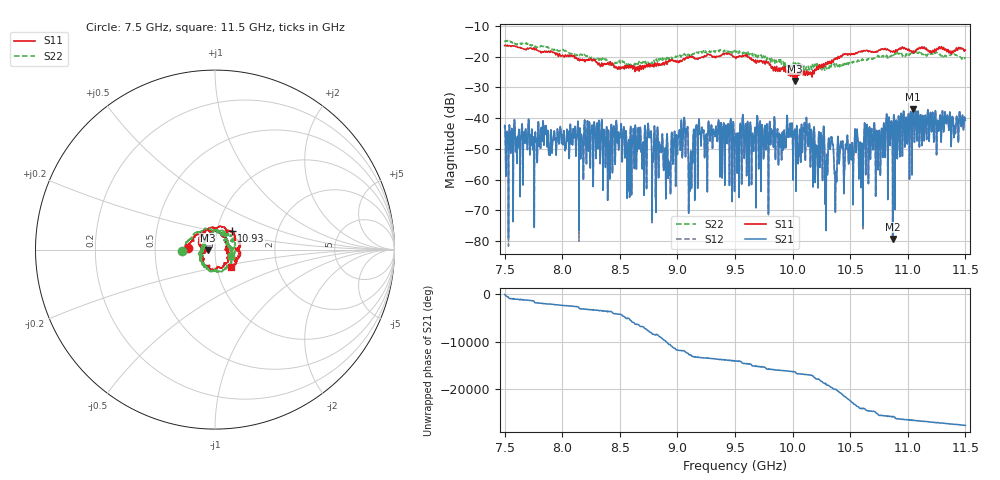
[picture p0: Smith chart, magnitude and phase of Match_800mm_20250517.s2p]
#  HZ  S  DB  R  50.00
! Rohde & Schwarz ZVA40 2Ports - Version 4.11 - 1145.1110k40 SN: 100216
! Date: 2025-05-17 20:26:16
! Measurements: S11 S21 S12 S22
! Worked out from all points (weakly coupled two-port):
!   5001 points, 7.5 GHz to 11.5 GHz, reference 50 ohm
!   highest |S21| = -37.01 dB at 11.05 GHz (marker M1); lowest = -79.3 dB at 10.87 GHz (marker M2)
!   lowest |S11| = -27.9 dB at 10.02 GHz (marker M3), VSWR 1.08, Z = 46.1 - j0.193 ohm
!   |S11| at or under -10 dB: start of sweep to end of sweep
!   |S22| runs from -25.2 to -14.8 dB; largest |S21 - S12| = 0.00012
!   S11 on the Smith chart (normalised r, x): 7.5 GHz: 0.74, +0.02; 10.93 GHz: 1.17, +0.25; 11.5 GHz: 1.16, -0.23
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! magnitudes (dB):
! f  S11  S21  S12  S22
! 7.5 GHz  -16.5  -42.9  -42.9  -14.8
! 8.167 GHz  -21.2  -45.5  -45.5  -19.3
! 8.834 GHz  -22.9  -49.5  -49.5  -20.7
! 8.934 GHz  -21.6  -54.8  -54.7  -21.1
! 9.071 GHz  -20.7  -51.5  -51.5  -19.4
! 9.114 GHz  -20.1  -50.9  -51.1  -19.1
! 9.201 GHz  -20.4  -45.5  -45.5  -18.6
! 9.5 GHz  -20.2  -48.8  -48.8  -18.0
! 10.02 GHz  -27.9  -44.8  -44.8  -22.8
! 10.17 GHz  -26.7  -45.5  -45.5  -23.8
! 10.3 GHz  -22.6  -51.8  -51.8  -23.9
! 10.33 GHz  -22.2  -47.7  -47.7  -23.5
! 10.37 GHz  -20.9  -62.6  -62.3  -23.4
! 10.41 GHz  -20.4  -52.6  -52.5  -23.4
! 10.55 GHz  -18.8  -50.5  -50.4  -21.6
! 10.59 GHz  -18.5  -62.7  -62.3  -21.0
! 10.63 GHz  -18.1  -58.5  -58.5  -21.3
! 10.83 GHz  -18.0  -41.0  -41.0  -19.8
! 10.87 GHz  -18.5  -79.3  -79.5  -19.1
! 10.93 GHz  -17.2  -44.9  -44.9  -19.1
! 11.05 GHz  -18.2  -37.0  -37.0  -18.9
! 11.5 GHz  -17.8  -40.8  -40.8  -20.5
